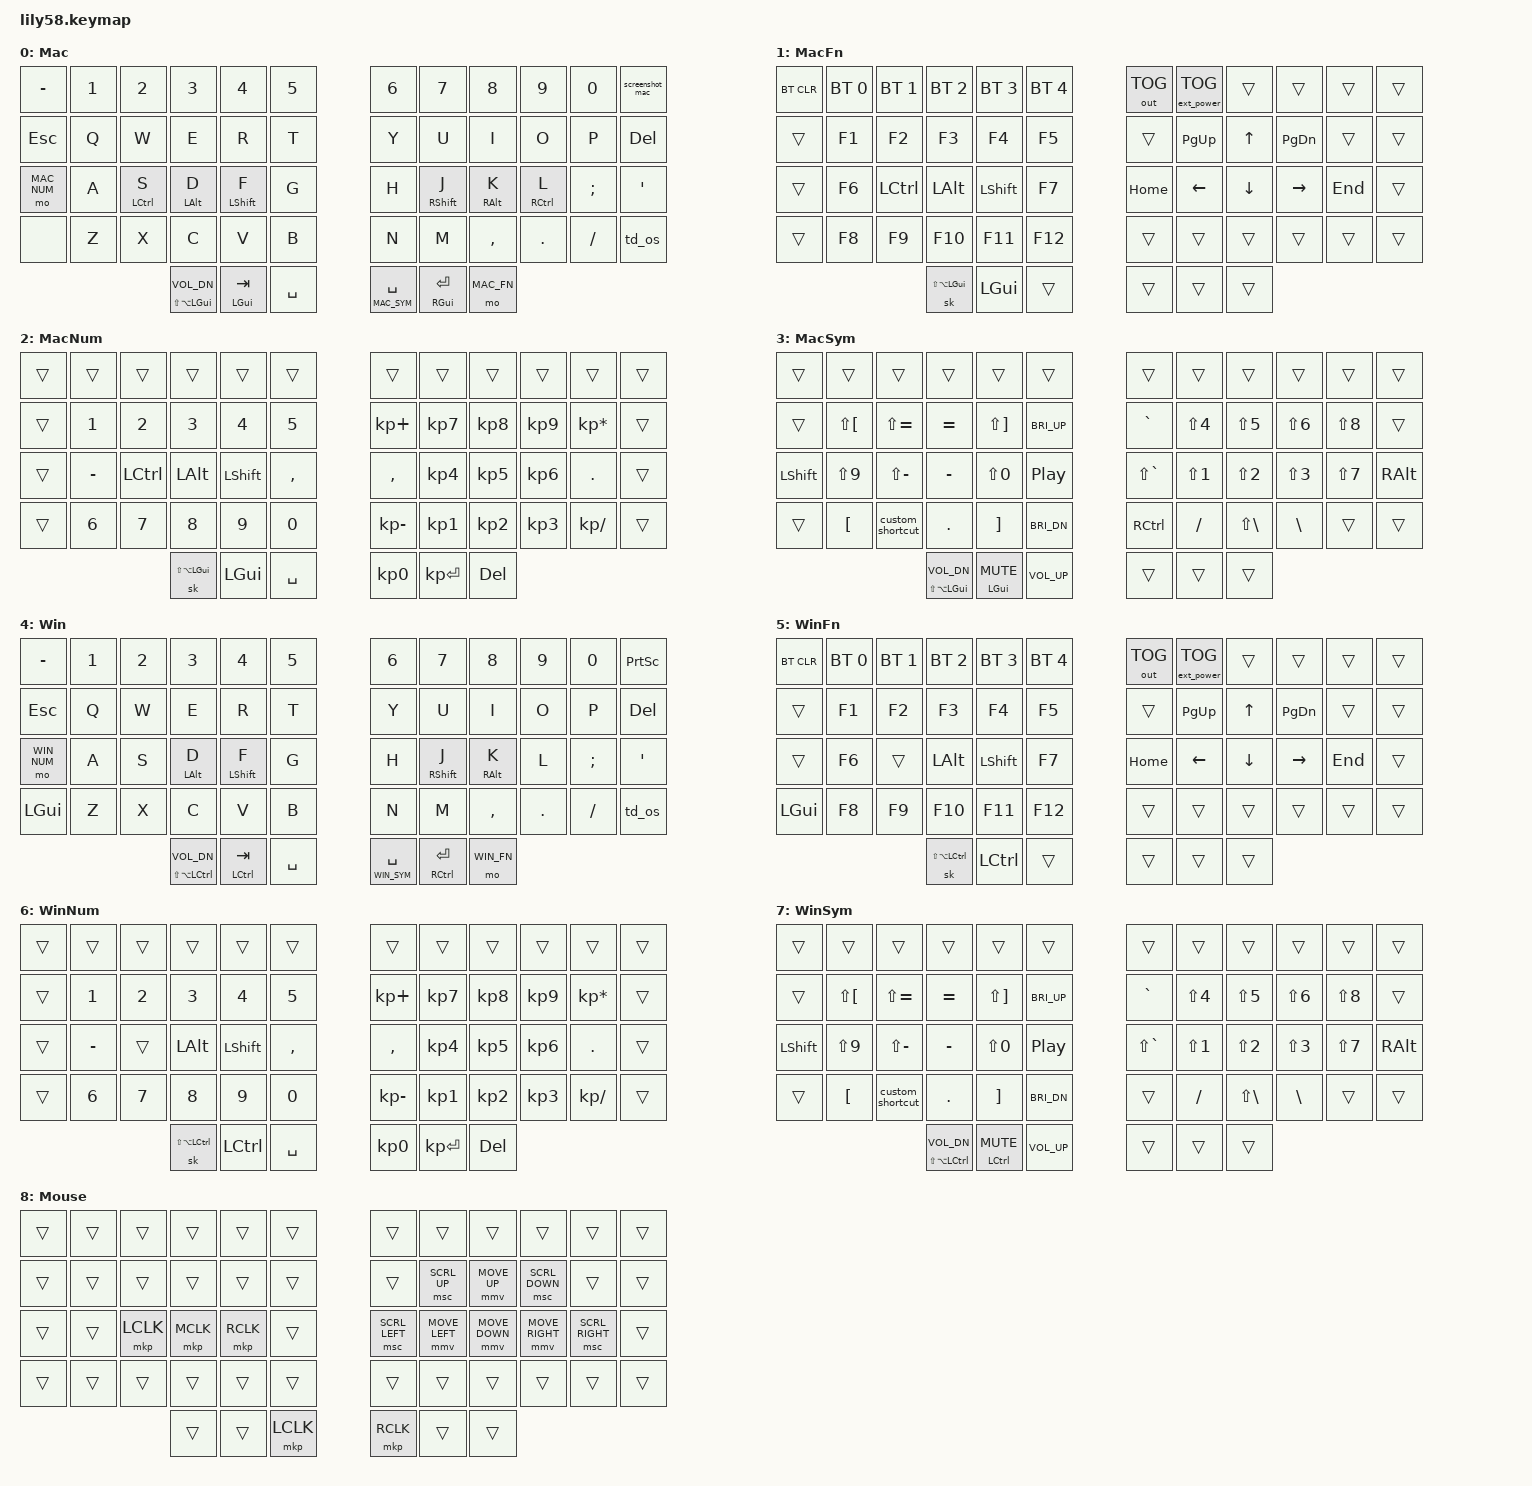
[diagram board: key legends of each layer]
/*
 * Copyright (c) 2020 The ZMK Contributors
 *
 * SPDX-License-Identifier: MIT
 *
 * Layout adapted from https://github.com/tmfsd/Silakka54-layout
 * (Mac + Windows base/fn/numpad/symbol layers), with an added mouse
 * pointing layer and ZMK bluetooth profile controls.
 */

#include <behaviors.dtsi>
#include <dt-bindings/zmk/keys.h>
#include <dt-bindings/zmk/bt.h>
#include <dt-bindings/zmk/outputs.h>
#include <dt-bindings/zmk/ext_power.h>
#include <dt-bindings/zmk/pointing.h>

#define MAC_BASE 0
#define MAC_FN   1
#define MAC_NUM  2
#define MAC_SYM  3
#define WIN_BASE 4
#define WIN_FN   5
#define WIN_NUM  6
#define WIN_SYM  7
#define MOUSE    8

/ {
    behaviors {
        /* Generic home-row-mod / thumb mod-tap: hold = modifier, tap = keycode */
        hm: home_row_mod {
            compatible = "zmk,behavior-hold-tap";
            #binding-cells = <2>;
            tapping-term-ms = <200>;
            quick-tap-ms = <175>;
            flavor = "balanced";
            bindings = <&kp>, <&kp>;
        };

        /* Thumb key: tap = volume down, hold = one-shot Shift+Alt+Gui (macOS "hyper") */
        hyper_mac: hyper_mac {
            compatible = "zmk,behavior-hold-tap";
            #binding-cells = <2>;
            tapping-term-ms = <200>;
            flavor = "tap-preferred";
            bindings = <&sk>, <&kp>;
        };

        /* Thumb key: tap = volume down, hold = one-shot Shift+Alt+Ctrl (Windows "meh") */
        meh_win: meh_win {
            compatible = "zmk,behavior-hold-tap";
            #binding-cells = <2>;
            tapping-term-ms = <200>;
            flavor = "tap-preferred";
            bindings = <&sk>, <&kp>;
        };

        /* Tap = switch to Mac base layer, double-tap = switch to Windows base layer */
        td_os: os_switch {
            compatible = "zmk,behavior-tap-dance";
            #binding-cells = <0>;
            tapping-term-ms = <200>;
            bindings = <&to MAC_BASE>, <&to WIN_BASE>;
        };
    };

    macros {
        screenshot_mac: screenshot_mac {
            compatible = "zmk,behavior-macro";
            #binding-cells = <0>;
            bindings = <&macro_press &kp LGUI &kp LSHFT>
                      , <&macro_tap &kp N4>
                      , <&macro_release &kp LGUI &kp LSHFT>;
        };

        custom_shortcut: custom_shortcut {
            compatible = "zmk,behavior-macro";
            #binding-cells = <0>;
            bindings = <&macro_press &kp RALT &kp RSHFT>
                      , <&macro_tap &kp FSLH>
                      , <&macro_release &kp RALT &kp RSHFT>;
        };
    };

    combos {
        compatible = "zmk,combos";
        combo_bspc {
            timeout-ms = <50>;
            key-positions = <19 20>;
            bindings = <&kp BSPC>;
        };
    };

    conditional_layers {
        compatible = "zmk,conditional-layers";
        /* Fn (right thumb) + Num (left pinky) is an easy cross-hand chord,
         * unlike Fn+Sym which both sit on the same thumb cluster. */
        mouse_mac {
            if-layers = <MAC_FN MAC_NUM>;
            then-layer = <MOUSE>;
        };
        mouse_win {
            if-layers = <WIN_FN WIN_NUM>;
            then-layer = <MOUSE>;
        };
    };

     keymap {
        compatible = "zmk,keymap";

        mac_base {
            display-name = "Mac";
            bindings = <
&kp MINUS   &kp N1 &kp N2         &kp N3         &kp N4          &kp N5           &kp N6 &kp N7          &kp N8         &kp N9          &kp N0 &screenshot_mac
&kp ESC     &kp Q  &kp W          &kp E          &kp R           &kp T            &kp Y  &kp U           &kp I          &kp O           &kp P  &kp DEL
&mo MAC_NUM &kp A  &hm LCTRL S    &hm LALT D     &hm LSHFT F     &kp G            &kp H  &hm RSHFT J     &hm RALT K     &hm RCTRL L     &kp SEMI &kp SQT
&none       &kp Z  &kp X          &kp C          &kp V           &kp B            &kp N  &kp M           &kp COMMA      &kp DOT         &kp FSLH &td_os
                       &hyper_mac LS(LA(LGUI)) C_VOL_DN  &hm LGUI TAB  &kp SPACE      &lt MAC_SYM SPACE  &hm RGUI RET  &mo MAC_FN
            >;
        };

        mac_fn {
            display-name = "MacFn";
            bindings = <
&bt BT_CLR &bt BT_SEL 0 &bt BT_SEL 1 &bt BT_SEL 2 &bt BT_SEL 3 &bt BT_SEL 4    &out OUT_TOG &ext_power EP_TOG &trans  &trans   &trans &trans
&trans     &kp F1       &kp F2       &kp F3       &kp F4       &kp F5          &trans       &kp PG_UP         &kp UP  &kp PG_DN &trans &trans
&trans     &kp F6       &kp LCTRL    &kp LALT     &kp LSHFT    &kp F7          &kp HOME     &kp LEFT          &kp DOWN &kp RIGHT &kp END &trans
&trans     &kp F8       &kp F9       &kp F10      &kp F11      &kp F12         &trans       &trans            &trans  &trans   &trans &trans
                            &sk LS(LA(LGUI)) &kp LGUI &trans        &trans   &trans   &trans
            >;
        };

        mac_num {
            display-name = "MacNum";
            bindings = <
&trans &trans     &trans    &trans    &trans     &trans        &trans      &trans      &trans      &trans     &trans        &trans
&trans &kp N1     &kp N2    &kp N3    &kp N4     &kp N5        &kp KP_PLUS &kp KP_N7   &kp KP_N8   &kp KP_N9  &kp KP_MULTIPLY &trans
&trans &kp MINUS  &kp LCTRL &kp LALT  &kp LSHFT  &kp COMMA     &kp COMMA   &kp KP_N4   &kp KP_N5   &kp KP_N6  &kp DOT         &trans
&trans &kp N6     &kp N7    &kp N8    &kp N9     &kp N0        &kp KP_MINUS &kp KP_N1  &kp KP_N2   &kp KP_N3  &kp KP_DIVIDE   &trans
                    &sk LS(LA(LGUI)) &kp LGUI &kp SPACE    &kp KP_N0 &kp KP_ENTER &kp DEL
            >;
        };

        mac_sym {
            display-name = "MacSym";
            bindings = <
&trans &trans      &trans      &trans   &trans      &trans       &trans     &trans     &trans     &trans     &trans      &trans
&trans &kp LS(LBKT) &kp LS(EQUAL) &kp EQUAL &kp LS(RBKT) &kp C_BRI_UP &kp GRAVE &kp LS(N4) &kp LS(N5) &kp LS(N6) &kp LS(N8) &trans
&kp LSHFT &kp LS(N9) &kp LS(MINUS) &kp MINUS &kp LS(N0) &kp C_PP     &kp LS(GRAVE) &kp LS(N1) &kp LS(N2) &kp LS(N3) &kp LS(N7) &kp RALT
&trans &kp LBKT    &custom_shortcut &kp DOT &kp RBKT  &kp C_BRI_DN &kp RCTRL  &kp FSLH   &kp LS(BSLH) &kp BSLH &trans      &trans
                    &hyper_mac LS(LA(LGUI)) C_VOL_DN &hm LGUI C_MUTE &kp C_VOL_UP  &trans &trans &trans
            >;
        };

        win_base {
            display-name = "Win";
            bindings = <
&kp MINUS   &kp N1 &kp N2      &kp N3         &kp N4          &kp N5           &kp N6 &kp N7          &kp N8         &kp N9   &kp N0 &kp PSCRN
&kp ESC     &kp Q  &kp W       &kp E          &kp R           &kp T            &kp Y  &kp U           &kp I          &kp O    &kp P  &kp DEL
&mo WIN_NUM &kp A  &kp S       &hm LALT D     &hm LSHFT F     &kp G            &kp H  &hm RSHFT J     &hm RALT K     &kp L    &kp SEMI &kp SQT
&kp LGUI    &kp Z  &kp X       &kp C          &kp V           &kp B            &kp N  &kp M           &kp COMMA      &kp DOT  &kp FSLH &td_os
                       &meh_win LS(LA(LCTRL)) C_VOL_DN &hm LCTRL TAB  &kp SPACE   &lt WIN_SYM SPACE  &hm RCTRL RET  &mo WIN_FN
            >;
        };

        win_fn {
            display-name = "WinFn";
            bindings = <
&bt BT_CLR &bt BT_SEL 0 &bt BT_SEL 1 &bt BT_SEL 2 &bt BT_SEL 3 &bt BT_SEL 4    &out OUT_TOG &ext_power EP_TOG &trans  &trans   &trans &trans
&trans     &kp F1       &kp F2       &kp F3       &kp F4       &kp F5          &trans       &kp PG_UP         &kp UP  &kp PG_DN &trans &trans
&trans     &kp F6       &trans       &kp LALT     &kp LSHFT    &kp F7          &kp HOME     &kp LEFT          &kp DOWN &kp RIGHT &kp END &trans
&kp LGUI   &kp F8       &kp F9       &kp F10      &kp F11      &kp F12         &trans       &trans            &trans  &trans   &trans &trans
                            &sk LS(LA(LCTRL)) &kp LCTRL &trans        &trans   &trans   &trans
            >;
        };

        win_num {
            display-name = "WinNum";
            bindings = <
&trans &trans     &trans    &trans    &trans     &trans        &trans      &trans      &trans      &trans     &trans        &trans
&trans &kp N1     &kp N2    &kp N3    &kp N4     &kp N5        &kp KP_PLUS &kp KP_N7   &kp KP_N8   &kp KP_N9  &kp KP_MULTIPLY &trans
&trans &kp MINUS  &trans    &kp LALT  &kp LSHFT  &kp COMMA     &kp COMMA   &kp KP_N4   &kp KP_N5   &kp KP_N6  &kp DOT         &trans
&trans &kp N6     &kp N7    &kp N8    &kp N9     &kp N0        &kp KP_MINUS &kp KP_N1  &kp KP_N2   &kp KP_N3  &kp KP_DIVIDE   &trans
                    &sk LS(LA(LCTRL)) &kp LCTRL &kp SPACE    &kp KP_N0 &kp KP_ENTER &kp DEL
            >;
        };

        win_sym {
            display-name = "WinSym";
            bindings = <
&trans &trans      &trans      &trans   &trans      &trans       &trans     &trans     &trans     &trans     &trans      &trans
&trans &kp LS(LBKT) &kp LS(EQUAL) &kp EQUAL &kp LS(RBKT) &kp C_BRI_UP &kp GRAVE &kp LS(N4) &kp LS(N5) &kp LS(N6) &kp LS(N8) &trans
&kp LSHFT &kp LS(N9) &kp LS(MINUS) &kp MINUS &kp LS(N0) &kp C_PP     &kp LS(GRAVE) &kp LS(N1) &kp LS(N2) &kp LS(N3) &kp LS(N7) &kp RALT
&trans &kp LBKT    &custom_shortcut &kp DOT &kp RBKT  &kp C_BRI_DN &trans     &kp FSLH   &kp LS(BSLH) &kp BSLH &trans      &trans
                    &meh_win LS(LA(LCTRL)) C_VOL_DN &hm LCTRL C_MUTE &kp C_VOL_UP  &trans &trans &trans
            >;
        };

        mouse_layer {
            display-name = "Mouse";
            bindings = <
&trans &trans  &trans     &trans     &trans     &trans   &trans          &trans           &trans        &trans           &trans           &trans
&trans &trans  &trans     &trans     &trans     &trans   &trans          &msc SCRL_UP     &mmv MOVE_UP  &msc SCRL_DOWN   &trans           &trans
&trans &trans  &mkp LCLK  &mkp MCLK  &mkp RCLK  &trans   &msc SCRL_LEFT  &mmv MOVE_LEFT   &mmv MOVE_DOWN &mmv MOVE_RIGHT  &msc SCRL_RIGHT  &trans
&trans &trans  &trans     &trans     &trans     &trans   &trans          &trans           &trans        &trans           &trans           &trans
                &trans     &trans     &mkp LCLK  &mkp RCLK  &trans  &trans
            >;
        };
    };
};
